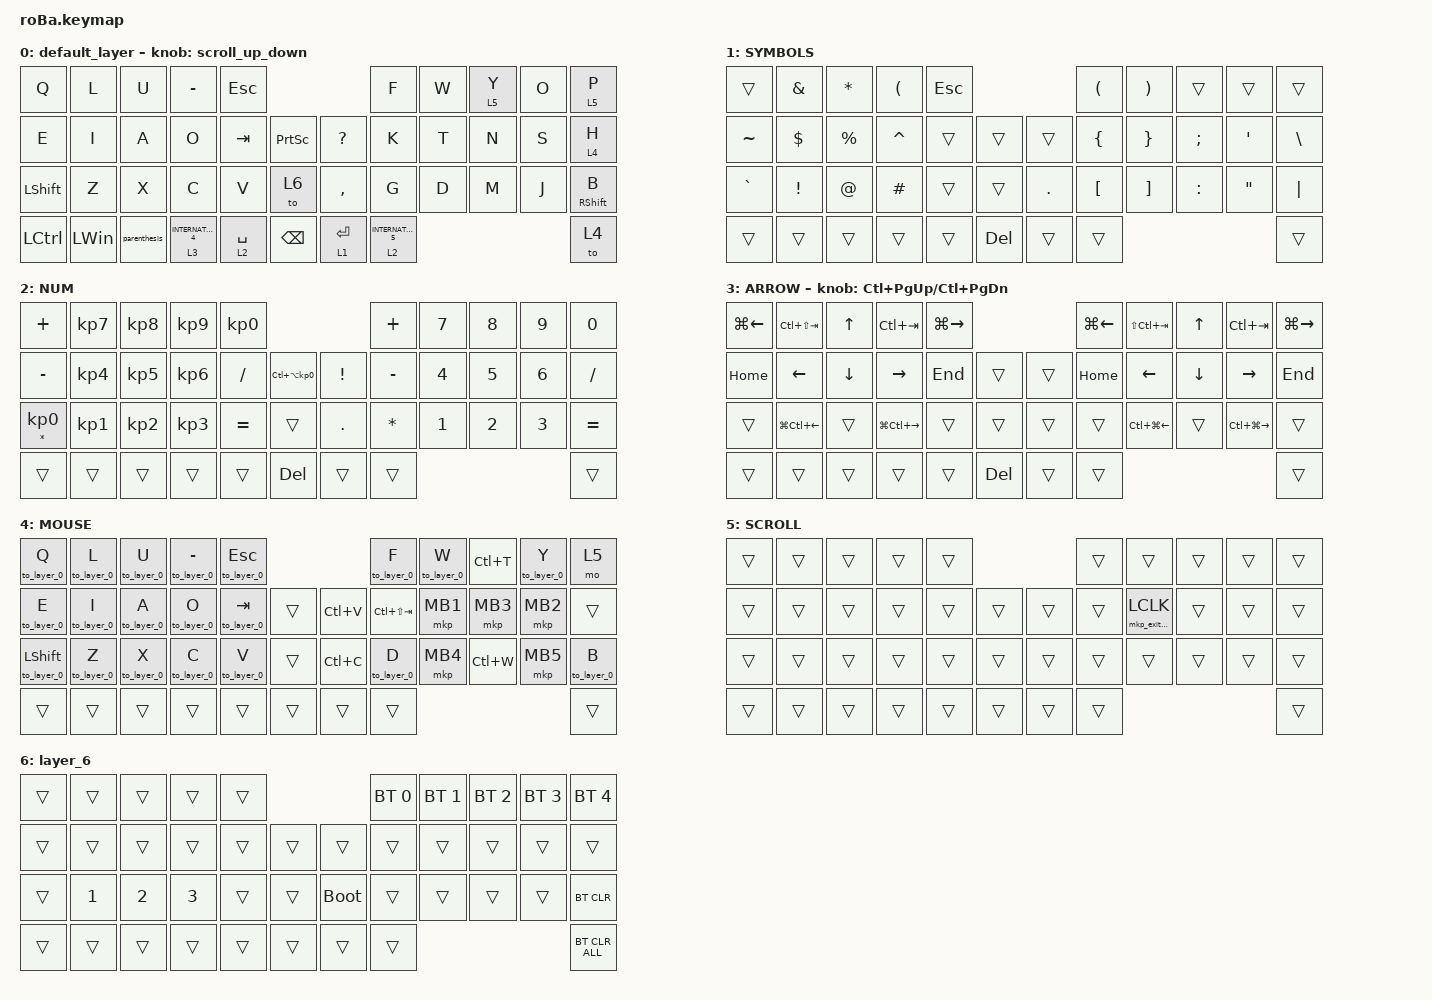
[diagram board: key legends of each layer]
#include <behaviors.dtsi>
#include <dt-bindings/zmk/bt.h>
#include <dt-bindings/zmk/keys.h>
#include <dt-bindings/zmk/pointing.h>

#define ZMK_POINTING_DEFAULT_SCRL_VAL 100
#define MOUSE 4
#define SCROLL 5
#define NUM 6

&mt {
    flavor = "hold-preferred";
    quick-tap-ms = <0>;
};

&sl { release-after-ms = <250>; };

/ {
    combos {
        compatible = "zmk,combos";

        BT0 {
            bindings = <&bt BT_SEL 0>;
            key-positions = <28 22>;
        };

        BT1 {
            bindings = <&bt BT_SEL 1>;
            key-positions = <28 23>;
        };

        BT2 {
            bindings = <&bt BT_SEL 2>;
            key-positions = <28 24>;
        };

        BT3 {
            bindings = <&none>;
            key-positions = <28 25>;
        };

        tt {
            bindings = <&kp A>;
            key-positions = <18 19>;
        };
    };

    macros {
        to_layer_0: to_layer_0 {
            compatible = "zmk,behavior-macro-one-param";
            #binding-cells = <1>;
            bindings = <&to 0 &macro_param_1to1 &kp MACRO_PLACEHOLDER>;
            label = "TO_LAYER_0";
        };

        mkp_exit_AML: mkp_exit_AML {
            compatible = "zmk,behavior-macro-one-param";
            #binding-cells = <1>;
            bindings =
                <&macro_press>,
                <&macro_param_1to1 &mkp MACRO_PLACEHOLDER>,
                <&macro_pause_for_release>,
                <&macro_release>,
                <&macro_param_1to1 &mkp MACRO_PLACEHOLDER>,
                <&macro_tap>,
                <&sl 4>;

            label = "MKP_EXIT_AML";
        };

        parenthesis: parenthesis {
            compatible = "zmk,behavior-macro";
            #binding-cells = <0>;
            bindings = <&kp LANG_HANJA &kp LEFT_PARENTHESIS &kp RIGHT_PARENTHESIS &kp LEFT_ARROW>;
            label = "parenthesis";
        };
    };

    behaviors {
        scroll_up_down: behavior_sensor_rotate_mouse_wheel_up_down {
            compatible = "zmk,behavior-sensor-rotate";
            #sensor-binding-cells = <0>;
            bindings = <&msc SCRL_DOWN>, <&msc SCRL_UP>;

            // 追加: スクロールのタップ時間を設定 (20ms)

            tap-ms = <20>;
        };

        multi_tap_tab_bspc: behavior_multi_tap {
            label = "MT_TAB_BSPC";
            #binding-cells = <0>;
            bindings = <&kp TAB>, <&kp BSPC>;

            max-taps = <2>;
            max-tap-interrupt-ms = <250>;
        };
    };

    keymap {
        compatible = "zmk,keymap";

        default_layer {
            bindings = <
&kp Q           &kp L         &kp U         &kp MINUS              &kp ESCAPE                                      &kp F                  &kp W  &lt 5 Y  &kp O  &lt 5 P
&kp E           &kp I         &kp A         &kp O                  &kp TAB      &kp PRINTSCREEN      &kp QUESTION  &kp K                  &kp T  &kp N    &kp S  &lt 4 H
&kp LEFT_SHIFT  &kp Z         &kp X         &kp C                  &kp V        &to 6                &kp COMMA     &kp G                  &kp D  &kp M    &kp J  &mt RIGHT_SHIFT B
&kp LCTRL       &kp LEFT_WIN  &parenthesis  &lt 3 INTERNATIONAL_4  &lt 2 SPACE  &kp BACKSPACE        &lt 1 ENTER   &lt 2 INTERNATIONAL_5                         &to 4
            >;

            sensor-bindings = <&scroll_up_down>;
        };

        SYMBOLS {
            bindings = <
&trans     &kp AMPERSAND    &kp ASTERISK  &kp LEFT_PARENTHESIS  &kp ESCAPE                              &kp LEFT_PARENTHESIS  &kp RIGHT_PARENTHESIS  &trans         &trans             &trans
&kp TILDE  &kp DOLLAR       &kp PERCENT   &kp CARET             &trans      &trans          &trans      &kp LEFT_BRACE        &kp RIGHT_BRACE        &kp SEMICOLON  &kp SINGLE_QUOTE   &kp BACKSLASH
&kp GRAVE  &kp EXCLAMATION  &kp AT_SIGN   &kp HASH              &trans      &trans          &kp PERIOD  &kp LEFT_BRACKET      &kp RIGHT_BRACKET      &kp COLON      &kp DOUBLE_QUOTES  &kp PIPE
&trans     &trans           &trans        &trans                &trans      &kp DELETE      &trans      &trans                                                                         &trans
            >;
        };

        NUM {
            bindings = <
&kp PLUS                  &kp KP_NUMBER_7  &kp KP_NUMBER_8  &kp KP_NUMBER_9  &kp KP_NUMBER_0                                                &kp PLUS      &kp N7  &kp N8  &kp N9  &kp N0
&kp MINUS                 &kp KP_NUMBER_4  &kp KP_NUMBER_5  &kp KP_NUMBER_6  &kp SLASH        &kp LC(LA(KP_NUMBER_0))      &kp EXCLAMATION  &kp MINUS     &kp N4  &kp N5  &kp N6  &kp SLASH
&mt ASTERISK KP_NUMBER_0  &kp KP_NUMBER_1  &kp KP_NUMBER_2  &kp KP_NUMBER_3  &kp EQUAL        &trans                       &kp PERIOD       &kp ASTERISK  &kp N1  &kp N2  &kp N3  &kp EQUAL
&trans                    &trans           &trans           &trans           &trans           &kp DELETE                   &trans           &trans                                &trans
            >;
        };

        ARROW {
            bindings = <
&kp LG(LEFT_ARROW)  &kp LC(LS(TAB))         &kp UP_ARROW    &kp LC(TAB)              &kp LG(RIGHT_ARROW)                       &kp LG(LEFT_ARROW)  &kp LS(LC(TAB))         &kp UP_ARROW    &kp LC(TAB)              &kp LG(RIGHT_ARROW)
&kp HOME            &kp LEFT_ARROW          &kp DOWN_ARROW  &kp RIGHT_ARROW          &kp END              &trans       &trans  &kp HOME            &kp LEFT_ARROW          &kp DOWN_ARROW  &kp RIGHT_ARROW          &kp END
&trans              &kp LG(LC(LEFT_ARROW))  &trans          &kp LG(LC(RIGHT_ARROW))  &trans               &trans       &trans  &trans              &kp LC(LG(LEFT_ARROW))  &trans          &kp LC(LG(RIGHT_ARROW))  &trans
&trans              &trans                  &trans          &trans                   &trans               &kp DEL      &trans  &trans                                                                               &trans
            >;

            sensor-bindings = <&inc_dec_kp LC(PAGE_UP) LC(PAGE_DOWN)>;
        };

        MOUSE {
            bindings = <
&to_layer_0 Q           &to_layer_0 L  &to_layer_0 U  &to_layer_0 MINUS  &to_layer_0 ESCAPE                         &to_layer_0 F    &to_layer_0 W  &kp LC(T)  &to_layer_0 Y  &mo 5
&to_layer_0 E           &to_layer_0 I  &to_layer_0 A  &to_layer_0 O      &to_layer_0 TAB     &trans      &kp LC(V)  &kp LC(LS(TAB))  &mkp MB1       &mkp MB3   &mkp MB2       &trans
&to_layer_0 LEFT_SHIFT  &to_layer_0 Z  &to_layer_0 X  &to_layer_0 C      &to_layer_0 V       &trans      &kp LC(C)  &to_layer_0 D    &mkp MB4       &kp LC(W)  &mkp MB5       &to_layer_0 B
&trans                  &trans         &trans         &trans             &trans              &trans      &trans     &trans                                                    &trans
            >;
        };

        SCROLL {
            bindings = <
&trans  &trans  &trans  &trans  &trans                      &trans  &trans              &trans  &trans  &trans
&trans  &trans  &trans  &trans  &trans  &trans      &trans  &trans  &mkp_exit_AML LCLK  &trans  &trans  &trans
&trans  &trans  &trans  &trans  &trans  &trans      &trans  &trans  &trans              &trans  &trans  &trans
&trans  &trans  &trans  &trans  &trans  &trans      &trans  &trans                                      &trans
            >;
        };

        layer_6 {
            bindings = <
&trans  &trans        &trans        &trans        &trans                           &bt BT_SEL 0  &bt BT_SEL 1  &bt BT_SEL 2  &bt BT_SEL 3  &bt BT_SEL 4
&trans  &trans        &trans        &trans        &trans  &trans      &trans       &trans        &trans        &trans        &trans        &trans
&trans  &kp NUMBER_1  &kp NUMBER_2  &kp NUMBER_3  &trans  &trans      &bootloader  &trans        &trans        &trans        &trans        &bt BT_CLR
&trans  &trans        &trans        &trans        &trans  &trans      &trans       &trans                                                  &bt BT_CLR_ALL
            >;
        };
    };
};
